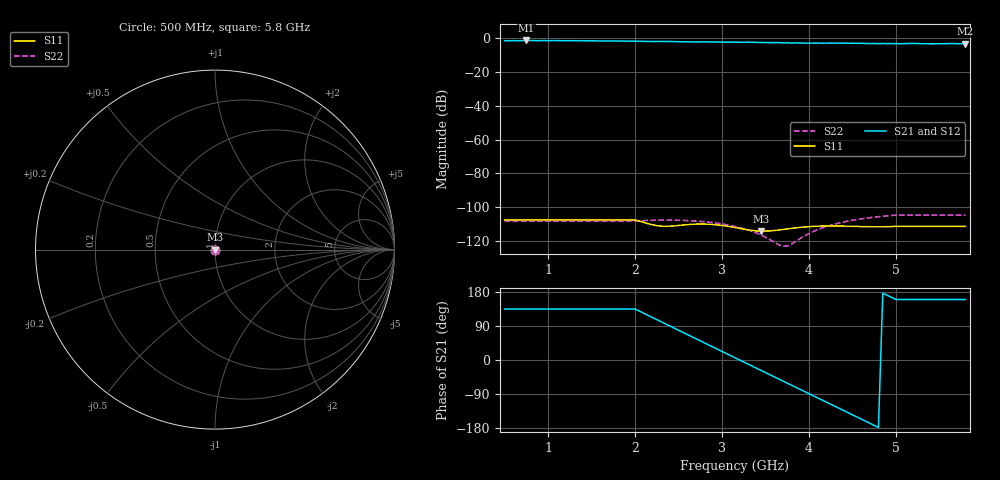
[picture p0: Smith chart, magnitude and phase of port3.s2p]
# GHZ S RI R 50
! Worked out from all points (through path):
!   107 points, 500 MHz to 5.8 GHz, reference 50 ohm
!   highest |S21| = -1.23 dB at 750 MHz (marker M1); lowest = -3.2 dB at 5.8 GHz (marker M2)
!   lowest |S11| = -114.2 dB at 3.45 GHz (marker M3), VSWR 1.00, Z = 50 - j0.000131 ohm
!   |S11| at or under -10 dB: start of sweep to end of sweep
!   |S22| runs from -123.1 to -104.7 dB; largest |S21 - S12| = 0
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0.5  1.76e-07 4.21e-06  -0.6009 0.6092  -0.6009 0.6092  3.18e-06 -2.28e-06
0.75  1.76e-07 4.21e-06  -0.6097 0.6181  -0.6097 0.6181  3.18e-06 -2.28e-06
1.4  1.76e-07 4.21e-06  -0.5978 0.6061  -0.5978 0.6061  3.18e-06 -2.28e-06
2  1.76e-07 4.21e-06  -0.579 0.587  -0.579 0.587  3.18e-06 -2.28e-06
2.1  1.1e-06 3.37e-06  -0.4511 0.6843  -0.4511 0.6843  2.68e-06 -2.99e-06
2.3  2.39e-06 1.36e-06  -0.1548 0.7987  -0.1548 0.7987  1.19e-06 -3.95e-06
2.45  2.79e-06 -1.24e-07  0.0818 0.8001  0.0818 0.8001  -1.87e-07 -4.12e-06
2.65  2.61e-06 -1.68e-06  0.3741 0.6971  0.3741 0.6971  -1.96e-06 -3.44e-06
2.8  2.05e-06 -2.4e-06  0.5606 0.5607  0.5606 0.5607  -2.88e-06 -2.34e-06
2.95  1.27e-06 -2.69e-06  0.6882 0.3697  0.6882 0.3697  -3.2e-06 -9.71e-07
3.15  8.89e-08 -2.49e-06  0.7691 0.0797  0.7691 0.0797  -2.61e-06 6.61e-07
3.3  -7.5e-07 -2e-06  0.7601 -0.1453  0.7601 -0.1453  -1.64e-06 1.34e-06
3.45  -1.45e-06 -1.31e-06  0.6702 -0.3496  0.6702 -0.3496  -5.45e-07 1.4e-06
3.75  -2.26e-06 2.26e-07  0.3626 -0.6535  0.3626 -0.6535  7.07e-07 -7.35e-08
3.9  -2.35e-06 9.08e-07  0.1559 -0.7141  0.1559 -0.7141  4.31e-07 -1.1e-06
4.05  -2.27e-06 1.46e-06  -0.0556 -0.7235  -0.0556 -0.7235  -4.79e-07 -1.84e-06
4.25  -1.97e-06 1.96e-06  -0.3262 -0.6492  -0.3262 -0.6492  -2.27e-06 -1.84e-06
4.5  -1.46e-06 2.28e-06  -0.587 -0.4181  -0.587 -0.4181  -4.1e-06 5.65e-08
4.75  -9.85e-07 2.44e-06  -0.6995 -0.0931  -0.6995 -0.0931  -4e-06 3.11e-06
4.95  -6.71e-07 2.59e-06  -0.6803 0.1789  -0.6803 0.1789  -2.29e-06 5.2e-06
5  -6.02e-07 2.64e-06  -0.6517 0.2412  -0.6517 0.2412  -1.68e-06 5.56e-06
5.8  -6.02e-07 2.64e-06  -0.6473 0.2396  -0.6473 0.2396  -1.68e-06 5.56e-06
